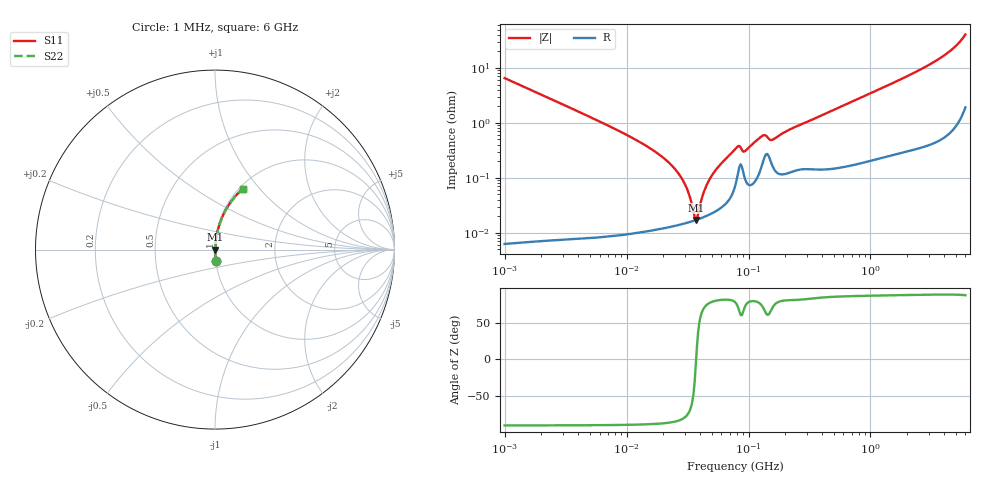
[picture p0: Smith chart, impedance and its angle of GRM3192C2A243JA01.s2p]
!Murata Part Number: GRM3192C2A243JA01
!These Parameters are Measured in Series Mode Connection
!Data Generated on Mar 30, 2021
!  o--ll--o
!Port1  Port2
!  o------o
!Operation Temp=25[degC], DC Bias Voltage=0[V]
!Freq. Start=1000[kHz] Stop=6[GHz] 401[Steps]
# Hz S RI R 50
!Freq.(Hz) S11(Real) S11(Imag) S21(Real) S21(Imag) S12(Real) S12(Imag) S22(Real) S22(Imag)
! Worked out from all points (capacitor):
!   401 points, 1 MHz to 6 GHz, reference 50 ohm
!   read as one part in series: C = 24.3 nF near 1.044 MHz
!   lowest |Z| = 17.2 mohm at 36.98 MHz (marker M1)
!   series resonance near 37.19 MHz, so ESL is about 750 pH
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1000000  0.00433 -0.0652  0.9957 0.0652  0.9957 0.0652  0.00433 -0.0652
4293785  0.000305 -0.015  0.9997 0.015  0.9997 0.015  0.000305 -0.015
1.0704e7  0.000127 -0.0056  0.9999 0.0056  0.9999 0.0056  0.000127 -0.0056
1.843659e7  0.000124 -0.00267  0.9999 0.00267  0.9999 0.00267  0.000124 -0.00267
2.393455e7  0.000134 -0.0016  0.9999 0.0016  0.9999 0.0016  0.000134 -0.0016
2.848316e7  0.000145 -0.000951  0.9999 0.000951  0.9999 0.000951  0.000145 -0.000951
3.175522e7  0.000154 -0.00056  0.9998 0.00056  0.9998 0.00056  0.000154 -0.00056
3.540316e7  0.000165 -0.000174  0.9998 0.000174  0.9998 0.000174  0.000165 -0.000174
3.697709e7  0.000171 -2.05e-05  0.9998 2.05e-05  0.9998 2.05e-05  0.000171 -2.05e-05
3.8621e7  0.000177 0.000134  0.9998 -0.000134  0.9998 -0.000134  0.000177 0.000134
4.400437e7  0.000198 0.000602  0.9998 -0.000602  0.9998 -0.000602  0.000198 0.000602
4.905945e7  0.000222 0.00101  0.9998 -0.00101  0.9998 -0.00101  0.000222 0.00101
7.745967e7  0.000706 0.00323  0.9993 -0.00323  0.9993 -0.00323  0.000706 0.00323
8.268215e7  0.00135 0.00355  0.9986 -0.00355  0.9986 -0.00355  0.00135 0.00355
9.420718e7  0.000925 0.00297  0.9991 -0.00297  0.9991 -0.00297  0.000925 0.00297
1.305463e8  0.00189 0.00554  0.9981 -0.00554  0.9981 -0.00554  0.00189 0.00554
1.587717e8  0.00159 0.00471  0.9984 -0.00471  0.9984 -0.00471  0.00159 0.00471
3.325952e8  0.00156 0.0114  0.9984 -0.0114  0.9984 -0.0114  0.00156 0.0114
1.428092e9  0.00494 0.0493  0.9951 -0.0493  0.9951 -0.0493  0.00494 0.0493
3.638376e9  0.0253 0.1416  0.9747 -0.1416  0.9747 -0.1416  0.0253 0.1416
4.93336e9  0.0629 0.2263  0.9371 -0.2263  0.9371 -0.2263  0.0629 0.2263
6e9  0.1534 0.3376  0.8466 -0.3376  0.8466 -0.3376  0.1534 0.3376
